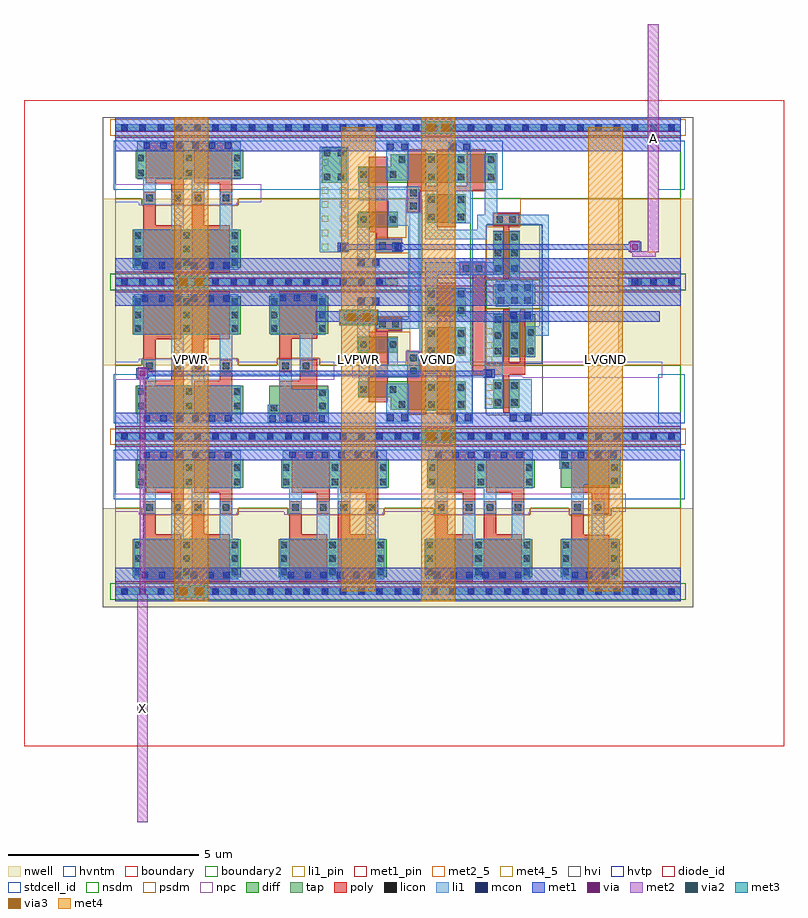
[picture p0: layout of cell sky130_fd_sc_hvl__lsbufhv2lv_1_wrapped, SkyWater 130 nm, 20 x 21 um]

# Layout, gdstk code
import gdstk
lib = gdstk.Library(unit=1e-6, precision=1e-09)
def R(c, l, rs):  # rectangles x0, y0, x1, y1
    for r in rs: c.add(gdstk.rectangle(r[:2], r[2:], *l))
def A(c, l, x, y, w, h, nx, ny, dx, dy):  # array of equal rectangles
    R(c, l, [(x+i*dx, y+j*dy, x+i*dx+w, y+j*dy+h) for i in range(nx) for j in range(ny)])
def P(c, l, *ps):  # polygons
    for p in ps: c.add(gdstk.Polygon(p, *l))
nwell = (64, 20)
diff = (65, 20)
tap = (65, 44)
poly = (66, 20)
licon = (66, 44)
li1_pin = (67, 16)
li1 = (67, 20)
mcon = (67, 44)
met1_pin = (68, 16)
met1 = (68, 20)
via = (68, 44)
met2_5 = (69, 5)
met2 = (69, 20)
via2 = (69, 44)
met3 = (70, 20)
via3 = (70, 44)
met4_5 = (71, 5)
met4 = (71, 20)
hvi = (75, 20)
hvtp = (78, 44)
stdcell_id = (81, 4)
diode_id = (81, 23)
nsdm = (93, 44)
psdm = (94, 20)
npc = (95, 20)
hvntm = (125, 20)
boundary = (235, 4)
boundary2 = (236, 0)

sky130_fd_sc_hvl__lsbufh = lib.new_cell('sky130_fd_sc_hvl__lsbufhv2lv_1')
R(sky130_fd_sc_hvl__lsbufh, nwell, [(-0.33,1.885,1.53,6.255), (7,1.885,8.49,6.255), (3.53,1.925,5,5.575)])
R(sky130_fd_sc_hvl__lsbufh, diff, [(1.96,0.705,2.99,1.455), (3.71,0.755,4.39,1.495), (3.71,2.105,4.82,3.225), (1.96,2.125,2.99,2.875), (0.15,2.215,1.2,2.635), (1.96,3.175,2.99,3.925), (3.71,4.275,4.39,5.395), (0.15,5.505,1.2,5.925), (1.96,5.635,2.99,6.385), (1.96,6.685,2.99,7.435), (2.74,6.685,3.77,7.435)])
P(sky130_fd_sc_hvl__lsbufh, diff, [(1.01,0.705),(1.01,1.035),(0.15,1.035),(0.15,1.455),(2.04,1.455),(2.04,0.705)],
  [(0.15,6.685),(0.15,7.105),(1.01,7.105),(1.01,7.435),(2.04,7.435),(2.04,6.685)])
R(sky130_fd_sc_hvl__lsbufh, tap, [(0,-0.085,8.16,0.085), (3.71,3.495,4.82,4.005), (0,3.985,1.2,4.155), (7.33,3.985,8.16,4.155), (0,8.055,8.16,8.225)])
R(sky130_fd_sc_hvl__lsbufh, poly, [(3.975,0.625,4.125,3.355), (4.405,1.965,4.555,3.355), (0.63,2.795,1.3,3.125), (2.225,3.045,2.725,4.055), (3.975,4.145,4.125,5.555), (2.83,4.265,3.5,4.595), (0.63,4.87,1.3,5.2), (0.63,5.2,0.935,5.375), (0.435,5.375,0.935,6.085), (3.715,5.555,4.385,5.885), (0.435,5.97,0.935,7.37)])
P(sky130_fd_sc_hvl__lsbufh, poly, [(0.435,0.905),(0.435,2.765),(0.63,2.765),(0.63,2.795),(0.935,2.795),(0.935,0.905)],
  [(2.225,5.505),(2.225,6.46),(1.775,6.46),(1.775,5.905),(1.445,5.905),(1.445,7.565),(1.945,7.565),(1.945,6.61),(2.225,6.61),(2.225,7.565),(2.725,7.565),(2.725,6.61),(3.005,6.61),(3.005,7.565),(3.505,7.565),(3.505,6.46),(2.725,6.46),(2.725,5.505)],
  [(3.17,1.635),(3.17,4.265),(3.5,4.265),(3.5,1.965),(4.555,1.965),(4.555,1.635)],
  [(1.445,0.575),(1.445,2.235),(1.775,2.235),(1.775,1.98),(2.225,1.98),(2.225,3.045),(2.725,3.045),(2.725,0.575),(2.225,0.575),(2.225,1.65),(1.945,1.65),(1.945,0.575)])
A(sky130_fd_sc_hvl__lsbufh, licon, 0.155, -0.085, 0.17, 0.17, 17, 2, 0.48, 8.14)
A(sky130_fd_sc_hvl__lsbufh, licon, 1.22, 0.765, 0.17, 0.17, 3, 1, 0.78, 0)
A(sky130_fd_sc_hvl__lsbufh, licon, 3.75, 2.165, 0.17, 0.17, 3, 1, 0.43, 0)
A(sky130_fd_sc_hvl__lsbufh, licon, 3.83, 3.495, 0.17, 0.17, 3, 2, 0.35, 0.34)
A(sky130_fd_sc_hvl__lsbufh, licon, 3.75, 4.335, 0.17, 0.17, 1, 3, 0, 0.415)
A(sky130_fd_sc_hvl__lsbufh, licon, 4.18, 4.335, 0.17, 0.17, 1, 3, 0, 0.415)
A(sky130_fd_sc_hvl__lsbufh, licon, 2, 6.745, 0.17, 0.17, 3, 1, 0.78, 0)
A(sky130_fd_sc_hvl__lsbufh, licon, 1.22, 7.205, 0.17, 0.17, 4, 1, 0.78, 0)
R(sky130_fd_sc_hvl__lsbufh, licon, [(3.75,0.815,3.92,0.985), (4.18,0.815,4.35,0.985), (0.21,1.16,0.38,1.33), (0.99,1.16,1.16,1.33), (2,1.205,2.17,1.375), (2.78,1.205,2.95,1.375), (3.75,1.265,3.92,1.435), (4.18,1.265,4.35,1.435), (1.525,1.645,1.695,1.815), (1.525,1.985,1.695,2.155), (2,2.185,2.17,2.355), (2.78,2.185,2.95,2.355), (0.21,2.34,0.38,2.51), (0.99,2.34,1.16,2.51), (3.75,2.58,3.92,2.75), (4.18,2.58,4.35,2.75), (2,2.625,2.17,2.795), (2.78,2.625,2.95,2.795), (4.61,2.655,4.78,2.825), (0.71,2.875,0.88,3.045), (1.05,2.875,1.22,3.045), (3.75,2.995,3.92,3.165), (4.18,2.995,4.35,3.165), (2,3.235,2.17,3.405), (2.78,3.235,2.95,3.405), (2,3.675,2.17,3.845), (2.78,3.675,2.95,3.845), (0.155,3.985,0.325,4.155), (0.635,3.985,0.805,4.155), (7.45,3.985,7.62,4.155), (7.835,3.985,8.005,4.155), (2.91,4.345,3.08,4.515), (3.25,4.345,3.42,4.515), (0.71,4.95,0.88,5.12), (1.05,4.95,1.22,5.12), (0.21,5.63,0.38,5.8), (0.99,5.63,1.16,5.8), (3.795,5.635,3.965,5.805), (4.135,5.635,4.305,5.805), (2,5.695,2.17,5.865), (2.78,5.695,2.95,5.865), (1.525,5.985,1.695,6.155), (2,6.155,2.17,6.325), (2.78,6.155,2.95,6.325), (1.525,6.325,1.695,6.495), (0.21,6.81,0.38,6.98), (0.99,6.81,1.16,6.98)])
A(sky130_fd_sc_hvl__lsbufh, li1_pin, 3.515, 0.84, 0.17, 0.17, 1, 6, 0, 0.37)
R(sky130_fd_sc_hvl__lsbufh, li1_pin, [(0.635,4.91,0.805,5.08), (1.115,4.91,1.285,5.08)])
R(sky130_fd_sc_hvl__lsbufh, li1, [(0,-0.085,8.16,0.085), (0.895,0.395,1.485,1.395), (2.57,0.395,3.16,3.91), (4.13,0.395,4.72,1.515), (3.485,0.735,3.96,3.245), (0,3.985,0.885,4.155), (7.275,3.985,8.16,4.155), (4.13,4.015,4.4,5.415), (0.63,4.87,1.3,5.2), (2.53,5.615,3.12,7.745), (0.895,6.745,1.485,7.745), (0,8.055,8.16,8.225)])
P(sky130_fd_sc_hvl__lsbufh, li1, [(0.13,2.26),(0.13,3.675),(0.72,3.675),(0.72,3.445),(0.46,3.445),(0.46,2.26)],
  [(0.13,4.465),(0.13,5.88),(0.46,5.88),(0.46,4.695),(0.72,4.695),(0.72,4.465)],
  [(0.17,1.08),(0.17,1.895),(0.95,1.895),(0.95,2.59),(1.2,2.59),(1.2,1.895),(1.445,1.895),(1.445,2.235),(1.75,2.235),(1.75,1.565),(0.42,1.565),(0.42,1.08)],
  [(4.13,2.085),(4.13,3.415),(3.78,3.415),(3.78,4.085),(4.75,4.085),(4.75,3.075),(4.4,3.075),(4.4,2.085)],
  [(0.63,2.835),(0.63,3.085),(1.47,3.085),(1.47,5.55),(0.95,5.55),(0.95,6.22),(0.17,6.22),(0.17,7.06),(0.42,7.06),(0.42,6.575),(1.75,6.575),(1.75,2.835)],
  [(4.57,2.085),(4.57,2.905),(4.92,2.905),(4.92,5.595),(3.54,5.595),(3.54,5.195),(1.92,5.195),(1.92,7.455),(2.25,7.455),(2.25,5.445),(3.29,5.445),(3.29,5.845),(3.48,5.845),(3.48,7.455),(3.81,7.455),(3.81,5.845),(5.17,5.845),(5.17,2.655),(4.82,2.655),(4.82,2.085)],
  [(1.92,0.685),(1.92,4.595),(3.71,4.595),(3.71,5.415),(3.96,5.415),(3.96,4.255),(2.25,4.255),(2.25,0.685)])
A(sky130_fd_sc_hvl__lsbufh, mcon, 0.155, -0.085, 0.17, 0.17, 17, 2, 0.48, 8.14)
R(sky130_fd_sc_hvl__lsbufh, mcon, [(0.925,0.425,1.095,0.595), (1.285,0.425,1.455,0.595), (2.6,0.425,2.77,0.595), (2.96,0.425,3.13,0.595), (4.16,0.425,4.33,0.595), (4.52,0.425,4.69,0.595), (4.16,3.105,4.33,3.275), (4.52,3.105,4.69,3.275), (0.16,3.475,0.33,3.645), (0.52,3.475,0.69,3.645), (0.155,3.985,0.325,4.155), (0.635,3.985,0.805,4.155), (7.355,3.985,7.525,4.155), (7.835,3.985,8.005,4.155), (0.16,4.495,0.33,4.665), (0.52,4.495,0.69,4.665), (0.925,7.545,1.095,7.715), (1.285,7.545,1.455,7.715), (2.56,7.545,2.73,7.715), (2.92,7.545,3.09,7.715)])
R(sky130_fd_sc_hvl__lsbufh, met1_pin, [(0,0,8.16,0.115), (0,0.255,8.16,0.625), (0.07,3.02,8.09,3.305), (0,3.445,8.16,3.815), (0,3.955,8.16,4.185), (0,4.325,8.16,4.695), (0,7.515,8.16,7.885), (0,8.025,8.16,8.14)])
A(sky130_fd_sc_hvl__lsbufh, met1, 0, -0.115, 8.16, 0.23, 1, 3, 0, 4.07)
R(sky130_fd_sc_hvl__lsbufh, met1, [(0,0.255,8.16,0.625), (0.07,3.02,8.09,3.305), (0,3.445,8.16,3.815), (0,4.325,8.16,4.695), (0,7.515,8.16,7.885)])
P(sky130_fd_sc_hvl__lsbufh, hvi, [(-0.33,-0.265),(-0.33,8.405),(5,8.405),(5,5.575),(3.53,5.575),(3.53,0.575),(5,0.575),(5,8.405),(8.49,8.405),(8.49,-0.265)])
R(sky130_fd_sc_hvl__lsbufh, hvtp, [(3.53,1.925,5,5.575)])
R(sky130_fd_sc_hvl__lsbufh, stdcell_id, [(0,0,8.16,8.14)])
R(sky130_fd_sc_hvl__lsbufh, nsdm, [(3.53,3.365,5,4.135), (7,3.855,8.29,4.285)])
P(sky130_fd_sc_hvl__lsbufh, nsdm, [(0,0.215),(0,1.885),(1.83,1.885),(1.83,3.855),(-0.13,3.855),(-0.13,4.285),(1.83,4.285),(1.83,6.255),(0,6.255),(0,7.925),(8.16,7.925),(8.16,6.255),(3.12,6.255),(3.12,1.885),(8.16,1.885),(8.16,0.215)])
R(sky130_fd_sc_hvl__lsbufh, psdm, [(-0.13,-0.215,8.29,0.215), (-0.13,7.925,8.29,8.355)])
P(sky130_fd_sc_hvl__lsbufh, psdm, [(3.53,1.885),(3.53,3.365),(5,3.365),(5,4.135),(3.53,4.135),(3.53,5.525),(4.415,5.525),(4.415,6.255),(8.16,6.255),(8.16,4.285),(7,4.285),(7,3.855),(8.16,3.855),(8.16,1.885)],
  [(0,1.885),(0,3.855),(1.53,3.855),(1.53,3.155),(0.6,3.155),(0.6,2.765),(1.53,2.765),(1.53,2.265),(1.415,2.265),(1.415,1.885)],
  [(0,4.285),(0,6.255),(1.415,6.255),(1.415,5.23),(0.6,5.23),(0.6,4.84),(1.53,4.84),(1.53,4.285)])
R(sky130_fd_sc_hvl__lsbufh, npc, [(0.61,2.775,1.32,3.145), (2.81,4.245,3.52,4.615), (0.61,4.85,1.32,5.22), (3.695,5.535,4.405,5.905), (1.425,5.885,1.795,6.595)])
P(sky130_fd_sc_hvl__lsbufh, npc, [(0,1.545),(0,1.97),(1.425,1.97),(1.425,2.255),(1.795,2.255),(1.795,1.97),(8.16,1.97),(8.16,1.545),(4.48,1.545),(4.48,1.585),(3.62,1.585),(3.62,1.545)])
P(sky130_fd_sc_hvl__lsbufh, hvntm, [(-0.035,0.35),(-0.035,1.64),(1.775,1.64),(1.775,6.5),(-0.035,6.5),(-0.035,7.79),(3.955,7.79),(3.955,6.5),(3.175,6.5),(3.175,0.35)])
R(sky130_fd_sc_hvl__lsbufh, boundary2, [(0,0,8.16,8.14)])
sky130_fd_sc_hvl__lsbufh.add(gdstk.Label('cross2', (3.18,2.35), layer=83, texttype=44))
sky130_fd_sc_hvl__lsbufh.add(gdstk.Label('lsbuflv2hv_1', (0,0), layer=83, texttype=44))
sky130_fd_sc_hvl__lsbufh.add(gdstk.Label('VPB', (4.32,4.068), layer=68, texttype=5))
sky130_fd_sc_hvl__lsbufh.add(gdstk.Label('LVPWR', (4.32,3.165), layer=68, texttype=5))
sky130_fd_sc_hvl__lsbufh.add(gdstk.Label('VNB', (4.32,0.058), layer=68, texttype=5))
sky130_fd_sc_hvl__lsbufh.add(gdstk.Label('VNB', (4.32,8.082), layer=68, texttype=5))
sky130_fd_sc_hvl__lsbufh.add(gdstk.Label('VGND', (4.32,0.44), layer=68, texttype=5))
sky130_fd_sc_hvl__lsbufh.add(gdstk.Label('VGND', (4.32,7.7), layer=68, texttype=5))
sky130_fd_sc_hvl__lsbufh.add(gdstk.Label('VPWR', (4.32,3.63), layer=68, texttype=5))
sky130_fd_sc_hvl__lsbufh.add(gdstk.Label('VPWR', (4.32,4.51), layer=68, texttype=5))
sky130_fd_sc_hvl__lsbufh.add(gdstk.Label('A', (0.72,4.995), layer=67, texttype=5))
sky130_fd_sc_hvl__lsbufh.add(gdstk.Label('A', (1.2,4.995), layer=67, texttype=5))
sky130_fd_sc_hvl__lsbufh.add(gdstk.Label('X', (3.6,0.925), layer=67, texttype=5))
sky130_fd_sc_hvl__lsbufh.add(gdstk.Label('X', (3.6,1.295), layer=67, texttype=5))
sky130_fd_sc_hvl__lsbufh.add(gdstk.Label('X', (3.6,1.665), layer=67, texttype=5))
sky130_fd_sc_hvl__lsbufh.add(gdstk.Label('X', (3.6,2.035), layer=67, texttype=5))
sky130_fd_sc_hvl__lsbufh.add(gdstk.Label('X', (3.6,2.405), layer=67, texttype=5))
sky130_fd_sc_hvl__lsbufh.add(gdstk.Label('X', (3.6,2.775), layer=67, texttype=5))

sky130_fd_sc_hvl__fill_2 = lib.new_cell('sky130_fd_sc_hvl__fill_2')
R(sky130_fd_sc_hvl__fill_2, nwell, [(-0.33,1.885,1.29,4.485)])
R(sky130_fd_sc_hvl__fill_2, tap, [(0,-0.085,0.96,0.085), (0,3.985,0.96,4.155)])
R(sky130_fd_sc_hvl__fill_2, licon, [(0.155,-0.085,0.325,0.085), (0.635,-0.085,0.805,0.085), (0.155,3.985,0.325,4.155), (0.635,3.985,0.805,4.155)])
R(sky130_fd_sc_hvl__fill_2, li1, [(0,-0.085,0.96,0.085), (0,3.985,0.96,4.155)])
R(sky130_fd_sc_hvl__fill_2, mcon, [(0.155,-0.085,0.325,0.085), (0.155,-0.085,0.325,0.085), (0.635,-0.085,0.805,0.085), (0.635,-0.085,0.805,0.085), (0.155,3.985,0.325,4.155), (0.155,3.985,0.325,4.155), (0.635,3.985,0.805,4.155), (0.635,3.985,0.805,4.155)])
R(sky130_fd_sc_hvl__fill_2, met1_pin, [(0,0,0.96,0.115), (0,0,0.96,0.115), (0,0.255,0.96,0.625), (0,3.445,0.96,3.815), (0,3.955,0.96,4.07), (0,3.955,0.96,4.07)])
R(sky130_fd_sc_hvl__fill_2, met1, [(0,-0.115,0.96,0.115), (0,0.255,0.96,0.625), (0,3.445,0.96,3.815), (0,3.955,0.96,4.185)])
R(sky130_fd_sc_hvl__fill_2, hvi, [(-0.33,-0.265,1.29,4.485)])
R(sky130_fd_sc_hvl__fill_2, stdcell_id, [(0,0,0.96,4.07)])
R(sky130_fd_sc_hvl__fill_2, nsdm, [(0,0.215,0.96,1.885), (-0.13,3.855,1.09,4.285), (0,3.855,0.96,4.07)])
R(sky130_fd_sc_hvl__fill_2, psdm, [(-0.13,-0.215,1.09,0.215), (0,1.885,0.96,3.855)])
R(sky130_fd_sc_hvl__fill_2, hvntm, [(-0.035,0.35,0.995,1.64)])
R(sky130_fd_sc_hvl__fill_2, boundary2, [(0,0,0.96,4.07)])
sky130_fd_sc_hvl__fill_2.add(gdstk.Label('fill_2', (0,0), layer=83, texttype=44))
sky130_fd_sc_hvl__fill_2.add(gdstk.Label('VPB', (0.48,4.013), layer=68, texttype=5))
sky130_fd_sc_hvl__fill_2.add(gdstk.Label('VPB', (0.48,4.013), layer=68, texttype=5))
sky130_fd_sc_hvl__fill_2.add(gdstk.Label('VNB', (0.48,0.058), layer=68, texttype=5))
sky130_fd_sc_hvl__fill_2.add(gdstk.Label('VNB', (0.48,0.058), layer=68, texttype=5))
sky130_fd_sc_hvl__fill_2.add(gdstk.Label('VPWR', (0.48,3.63), layer=68, texttype=5))
sky130_fd_sc_hvl__fill_2.add(gdstk.Label('VGND', (0.48,0.44), layer=68, texttype=5))

sky130_fd_sc_hvl__fill_1 = lib.new_cell('sky130_fd_sc_hvl__fill_1')
R(sky130_fd_sc_hvl__fill_1, nwell, [(-0.33,1.885,0.81,4.485)])
R(sky130_fd_sc_hvl__fill_1, tap, [(0,-0.085,0.48,0.085), (0,3.985,0.48,4.155)])
R(sky130_fd_sc_hvl__fill_1, licon, [(0.155,-0.085,0.325,0.085), (0.155,3.985,0.325,4.155)])
R(sky130_fd_sc_hvl__fill_1, li1, [(0,-0.085,0.48,0.085), (0,3.985,0.48,4.155)])
R(sky130_fd_sc_hvl__fill_1, mcon, [(0.155,-0.085,0.325,0.085), (0.155,-0.085,0.325,0.085), (0.155,3.985,0.325,4.155), (0.155,3.985,0.325,4.155)])
R(sky130_fd_sc_hvl__fill_1, met1_pin, [(0,0,0.48,0.115), (0,0,0.48,0.115), (0,0.255,0.48,0.625), (0,3.445,0.48,3.815), (0,3.955,0.48,4.07), (0,3.955,0.48,4.07)])
R(sky130_fd_sc_hvl__fill_1, met1, [(0,-0.115,0.48,0.115), (0,0.255,0.48,0.625), (0,3.445,0.48,3.815), (0,3.955,0.48,4.185)])
R(sky130_fd_sc_hvl__fill_1, hvi, [(-0.33,-0.265,0.81,4.485)])
R(sky130_fd_sc_hvl__fill_1, stdcell_id, [(0,0,0.48,4.07)])
R(sky130_fd_sc_hvl__fill_1, nsdm, [(0,0.215,0.48,1.885), (-0.13,3.855,0.61,4.285), (0,3.855,0.48,4.07)])
R(sky130_fd_sc_hvl__fill_1, psdm, [(-0.13,-0.215,0.61,0.215), (0,1.885,0.48,3.855)])
R(sky130_fd_sc_hvl__fill_1, hvntm, [(-0.11,0.35,0.59,1.64)])
R(sky130_fd_sc_hvl__fill_1, boundary2, [(0,0,0.48,4.07)])
sky130_fd_sc_hvl__fill_1.add(gdstk.Label('fill_1', (0,0), layer=83, texttype=44))
sky130_fd_sc_hvl__fill_1.add(gdstk.Label('VPB', (0.24,4.013), layer=68, texttype=5))
sky130_fd_sc_hvl__fill_1.add(gdstk.Label('VPB', (0.24,4.013), layer=68, texttype=5))
sky130_fd_sc_hvl__fill_1.add(gdstk.Label('VGND', (0.24,0.44), layer=68, texttype=5))
sky130_fd_sc_hvl__fill_1.add(gdstk.Label('VPWR', (0.24,3.63), layer=68, texttype=5))
sky130_fd_sc_hvl__fill_1.add(gdstk.Label('VNB', (0.24,0.058), layer=68, texttype=5))
sky130_fd_sc_hvl__fill_1.add(gdstk.Label('VNB', (0.24,0.058), layer=68, texttype=5))

sky130_fd_sc_hvl__decap_ = lib.new_cell('sky130_fd_sc_hvl__decap_8')
R(sky130_fd_sc_hvl__decap_, nwell, [(-0.33,1.885,4.17,4.485)])
R(sky130_fd_sc_hvl__decap_, diff, [(0.535,0.59,3.365,1.34), (0.46,2.7,3.3,3.7)])
R(sky130_fd_sc_hvl__decap_, tap, [(0,-0.085,3.84,0.085), (0,3.985,3.84,4.155)])
P(sky130_fd_sc_hvl__decap_, poly, [(0.735,1.695),(0.735,3.83),(1.735,3.83),(1.735,2.57),(1.065,2.57),(1.065,1.695)],
  [(2.015,1.695),(2.015,3.83),(3.015,3.83),(3.015,2.57),(2.345,2.57),(2.345,1.695)],
  [(0.8,0.4),(0.8,1.47),(1.47,1.47),(1.47,2.025),(1.8,2.025),(1.8,0.4)],
  [(2.08,0.4),(2.08,1.47),(2.75,1.47),(2.75,2.025),(3.08,2.025),(3.08,0.4)])
A(sky130_fd_sc_hvl__decap_, licon, 0.155, -0.085, 0.17, 0.17, 8, 2, 0.48, 4.07)
A(sky130_fd_sc_hvl__decap_, licon, 0.575, 0.72, 0.17, 0.17, 3, 2, 1.28, 0.39)
A(sky130_fd_sc_hvl__decap_, licon, 0.5, 2.76, 0.17, 0.17, 1, 3, 0, 0.355)
A(sky130_fd_sc_hvl__decap_, licon, 1.79, 2.76, 0.17, 0.17, 1, 3, 0, 0.355)
A(sky130_fd_sc_hvl__decap_, licon, 3.07, 2.76, 0.17, 0.17, 1, 3, 0, 0.355)
R(sky130_fd_sc_hvl__decap_, licon, [(0.815,1.775,0.985,1.945), (1.55,1.775,1.72,1.945), (2.095,1.775,2.265,1.945), (2.83,1.775,3,1.945)])
R(sky130_fd_sc_hvl__decap_, li1, [(0,-0.085,3.84,0.085), (0,3.985,3.84,4.155)])
P(sky130_fd_sc_hvl__decap_, li1, [(0.575,0.36),(0.575,1.36),(0.735,1.36),(0.735,2.025),(1.065,2.025),(1.065,1.36),(2.015,1.36),(2.015,2.025),(2.345,2.025),(2.345,1.36),(3.305,1.36),(3.305,0.36)],
  [(1.47,1.695),(1.47,2.68),(0.5,2.68),(0.5,3.75),(3.24,3.75),(3.24,2.68),(3.08,2.68),(3.08,1.695),(2.75,1.695),(2.75,2.68),(1.8,2.68),(1.8,1.695)])
A(sky130_fd_sc_hvl__decap_, mcon, 0.155, -0.085, 0.17, 0.17, 8, 2, 0.48, 4.07)
R(sky130_fd_sc_hvl__decap_, mcon, [(0.745,0.39,0.915,0.56), (1.185,0.39,1.355,0.56), (1.6,0.39,1.77,0.56), (2.025,0.39,2.195,0.56), (2.465,0.39,2.635,0.56), (2.88,0.39,3.05,0.56), (0.705,3.555,0.875,3.725), (1.145,3.555,1.315,3.725), (1.56,3.555,1.73,3.725), (1.985,3.555,2.155,3.725), (2.425,3.555,2.595,3.725), (2.84,3.555,3.01,3.725)])
R(sky130_fd_sc_hvl__decap_, met1_pin, [(0,0,3.84,0.115), (0,0,3.84,0.115), (0,0.255,3.84,0.625), (0,3.445,3.84,3.815), (0,3.955,3.84,4.07), (0,3.955,3.84,4.07)])
R(sky130_fd_sc_hvl__decap_, met1, [(0,-0.115,3.84,0.115), (0,0.255,3.84,0.625), (0,3.445,3.84,3.815), (0,3.955,3.84,4.185)])
R(sky130_fd_sc_hvl__decap_, hvi, [(-0.33,-0.265,4.17,4.485)])
R(sky130_fd_sc_hvl__decap_, stdcell_id, [(0,0,3.84,4.07)])
R(sky130_fd_sc_hvl__decap_, nsdm, [(-0.13,3.855,3.97,4.285)])
P(sky130_fd_sc_hvl__decap_, nsdm, [(0,0.215),(0,1.885),(0.705,1.885),(0.705,2.055),(3.24,2.055),(3.24,1.885),(3.84,1.885),(3.84,0.215)])
R(sky130_fd_sc_hvl__decap_, psdm, [(-0.13,-0.215,3.97,0.215)])
P(sky130_fd_sc_hvl__decap_, psdm, [(0,1.885),(0,3.855),(3.84,3.855),(3.84,1.885),(3.24,1.885),(3.24,2.055),(0.705,2.055),(0.705,1.885)])
P(sky130_fd_sc_hvl__decap_, npc, [(0,1.5),(0,1.97),(0.615,1.97),(0.615,2.05),(3.2,2.05),(3.2,1.97),(3.84,1.97),(3.84,1.5)])
R(sky130_fd_sc_hvl__decap_, hvntm, [(-0.035,0.35,3.875,1.64)])
R(sky130_fd_sc_hvl__decap_, boundary2, [(0,0,3.84,4.07)])
sky130_fd_sc_hvl__decap_.add(gdstk.Label('decap_8', (0,0), layer=83, texttype=44))
sky130_fd_sc_hvl__decap_.add(gdstk.Label('VPB', (1.92,4.013), layer=68, texttype=5))
sky130_fd_sc_hvl__decap_.add(gdstk.Label('VPB', (1.92,4.013), layer=68, texttype=5))
sky130_fd_sc_hvl__decap_.add(gdstk.Label('VPWR', (1.92,3.63), layer=68, texttype=5))
sky130_fd_sc_hvl__decap_.add(gdstk.Label('VGND', (1.92,0.44), layer=68, texttype=5))
sky130_fd_sc_hvl__decap_.add(gdstk.Label('VNB', (1.92,0.058), layer=68, texttype=5))
sky130_fd_sc_hvl__decap_.add(gdstk.Label('VNB', (1.92,0.058), layer=68, texttype=5))

c_sky130_fd_sc_hvl__decap_ = lib.new_cell('sky130_fd_sc_hvl__decap_4')
R(c_sky130_fd_sc_hvl__decap_, nwell, [(-0.33,1.885,2.25,4.485)])
R(c_sky130_fd_sc_hvl__decap_, diff, [(0.21,0.595,1.76,1.345), (0.21,2.705,1.76,3.705)])
R(c_sky130_fd_sc_hvl__decap_, tap, [(0,-0.085,1.92,0.085), (0,3.985,1.92,4.155)])
P(c_sky130_fd_sc_hvl__decap_, poly, [(0.475,0.405),(0.475,1.475),(1.015,1.475),(1.015,2.03),(1.475,2.03),(1.475,0.405)],
  [(0.475,1.7),(0.475,3.835),(1.475,3.835),(1.475,2.575),(0.805,2.575),(0.805,1.7)])
A(c_sky130_fd_sc_hvl__decap_, licon, 0.155, -0.085, 0.17, 0.17, 4, 2, 0.48, 4.07)
A(c_sky130_fd_sc_hvl__decap_, licon, 0.25, 2.765, 0.17, 0.17, 1, 3, 0, 0.355)
A(c_sky130_fd_sc_hvl__decap_, licon, 1.53, 2.765, 0.17, 0.17, 1, 3, 0, 0.355)
R(c_sky130_fd_sc_hvl__decap_, licon, [(0.25,0.675,0.42,0.845), (1.53,0.725,1.7,0.895), (1.53,1.08,1.7,1.25), (0.555,1.78,0.725,1.95), (1.095,1.78,1.265,1.95)])
R(c_sky130_fd_sc_hvl__decap_, li1, [(0,-0.085,1.92,0.085), (0,3.985,1.92,4.155)])
P(c_sky130_fd_sc_hvl__decap_, li1, [(0.17,0.365),(0.17,0.845),(0.475,0.845),(0.475,2.03),(0.805,2.03),(0.805,1.25),(1.78,1.25),(1.78,0.365)],
  [(1.015,1.7),(1.015,2.685),(0.25,2.685),(0.25,3.755),(1.7,3.755),(1.7,2.685),(1.345,2.685),(1.345,1.7)])
A(c_sky130_fd_sc_hvl__decap_, mcon, 0.155, -0.085, 0.17, 0.17, 4, 2, 0.48, 4.07)
A(c_sky130_fd_sc_hvl__decap_, mcon, 0.215, 0.395, 0.17, 0.17, 3, 1, 0.44, 0)
R(c_sky130_fd_sc_hvl__decap_, mcon, [(1.51,0.395,1.68,0.565), (0.495,3.56,0.665,3.73), (0.86,3.56,1.03,3.73), (1.3,3.56,1.47,3.73)])
R(c_sky130_fd_sc_hvl__decap_, met1_pin, [(0,0,1.92,0.115), (0,0,1.92,0.115), (0,0.255,1.92,0.625), (0,3.445,1.92,3.815), (0,3.955,1.92,4.07), (0,3.955,1.92,4.07)])
R(c_sky130_fd_sc_hvl__decap_, met1, [(0,-0.115,1.92,0.115), (0,0.255,1.92,0.625), (0,3.445,1.92,3.815), (0,3.955,1.92,4.185)])
R(c_sky130_fd_sc_hvl__decap_, hvi, [(-0.33,-0.265,2.25,4.485)])
R(c_sky130_fd_sc_hvl__decap_, stdcell_id, [(0,0,1.92,4.07)])
R(c_sky130_fd_sc_hvl__decap_, nsdm, [(-0.13,3.855,2.05,4.285)])
P(c_sky130_fd_sc_hvl__decap_, nsdm, [(0,0.215),(0,1.885),(0.425,1.885),(0.425,2.07),(1.54,2.07),(1.54,1.885),(1.92,1.885),(1.92,0.215)])
R(c_sky130_fd_sc_hvl__decap_, psdm, [(-0.13,-0.215,2.05,0.215)])
P(c_sky130_fd_sc_hvl__decap_, psdm, [(0,1.885),(0,3.855),(1.92,3.855),(1.92,1.885),(1.54,1.885),(1.54,2.07),(0.425,2.07),(0.425,1.885)])
P(c_sky130_fd_sc_hvl__decap_, npc, [(0,1.5),(0,1.97),(0.425,1.97),(0.425,2.05),(1.54,2.05),(1.54,1.97),(1.92,1.97),(1.92,1.5)])
R(c_sky130_fd_sc_hvl__decap_, hvntm, [(-0.035,0.35,1.955,1.64)])
R(c_sky130_fd_sc_hvl__decap_, boundary2, [(0,0,1.92,4.07)])
c_sky130_fd_sc_hvl__decap_.add(gdstk.Label('decap_4', (0,0), layer=83, texttype=44))
c_sky130_fd_sc_hvl__decap_.add(gdstk.Label('VPB', (0.96,4.013), layer=68, texttype=5))
c_sky130_fd_sc_hvl__decap_.add(gdstk.Label('VPB', (0.96,4.013), layer=68, texttype=5))
c_sky130_fd_sc_hvl__decap_.add(gdstk.Label('VPWR', (0.96,3.63), layer=68, texttype=5))
c_sky130_fd_sc_hvl__decap_.add(gdstk.Label('VGND', (0.96,0.44), layer=68, texttype=5))
c_sky130_fd_sc_hvl__decap_.add(gdstk.Label('VNB', (0.96,0.058), layer=68, texttype=5))
c_sky130_fd_sc_hvl__decap_.add(gdstk.Label('VNB', (0.96,0.058), layer=68, texttype=5))

sky130_fd_sc_hvl__diode_ = lib.new_cell('sky130_fd_sc_hvl__diode_2')
R(sky130_fd_sc_hvl__diode_, nwell, [(-0.33,1.885,1.29,4.485)])
R(sky130_fd_sc_hvl__diode_, diff, [(0.15,0.535,0.81,1.455)])
R(sky130_fd_sc_hvl__diode_, tap, [(0,-0.085,0.96,0.085), (0,3.985,0.96,4.155)])
R(sky130_fd_sc_hvl__diode_, licon, [(0.155,-0.085,0.325,0.085), (0.635,-0.085,0.805,0.085), (0.21,0.595,0.38,0.765), (0.58,0.595,0.75,0.765), (0.21,1.225,0.38,1.395), (0.58,1.225,0.75,1.395), (0.155,3.985,0.325,4.155), (0.635,3.985,0.805,4.155)])
A(sky130_fd_sc_hvl__diode_, li1_pin, 0.155, 0.84, 0.17, 0.17, 1, 7, 0, 0.37)
A(sky130_fd_sc_hvl__diode_, li1_pin, 0.635, 0.84, 0.17, 0.17, 1, 7, 0, 0.37)
R(sky130_fd_sc_hvl__diode_, li1, [(0,-0.085,0.96,0.085), (0.105,0.515,0.855,3.28), (0,3.985,0.96,4.155)])
R(sky130_fd_sc_hvl__diode_, mcon, [(0.155,-0.085,0.325,0.085), (0.155,-0.085,0.325,0.085), (0.635,-0.085,0.805,0.085), (0.635,-0.085,0.805,0.085), (0.155,3.985,0.325,4.155), (0.155,3.985,0.325,4.155), (0.635,3.985,0.805,4.155), (0.635,3.985,0.805,4.155)])
R(sky130_fd_sc_hvl__diode_, met1_pin, [(0,0,0.96,0.115), (0,0,0.96,0.115), (0,0.255,0.96,0.625), (0,3.445,0.96,3.815), (0,3.955,0.96,4.07), (0,3.955,0.96,4.07)])
R(sky130_fd_sc_hvl__diode_, met1, [(0,-0.115,0.96,0.115), (0,0.255,0.96,0.625), (0,3.445,0.96,3.815), (0,3.955,0.96,4.185)])
R(sky130_fd_sc_hvl__diode_, hvi, [(-0.33,-0.265,1.29,4.485)])
R(sky130_fd_sc_hvl__diode_, stdcell_id, [(0,0,0.96,4.07)])
R(sky130_fd_sc_hvl__diode_, diode_id, [(0.15,0.535,0.81,1.455)])
R(sky130_fd_sc_hvl__diode_, nsdm, [(0,0.215,0.96,1.885), (-0.13,3.855,1.09,4.285), (0,3.855,0.96,4.07)])
R(sky130_fd_sc_hvl__diode_, psdm, [(-0.13,-0.215,1.09,0.215), (0,1.885,0.96,3.855)])
R(sky130_fd_sc_hvl__diode_, hvntm, [(-0.035,0.35,0.995,1.64)])
R(sky130_fd_sc_hvl__diode_, boundary2, [(0,0,0.96,4.07)])
sky130_fd_sc_hvl__diode_.add(gdstk.Label('diode_2', (0,0), layer=83, texttype=44))
sky130_fd_sc_hvl__diode_.add(gdstk.Label('VPB', (0.48,4.013), layer=68, texttype=5))
sky130_fd_sc_hvl__diode_.add(gdstk.Label('VPB', (0.48,4.013), layer=68, texttype=5))
sky130_fd_sc_hvl__diode_.add(gdstk.Label('VNB', (0.48,0.058), layer=68, texttype=5))
sky130_fd_sc_hvl__diode_.add(gdstk.Label('VNB', (0.48,0.058), layer=68, texttype=5))
sky130_fd_sc_hvl__diode_.add(gdstk.Label('VPWR', (0.48,3.63), layer=68, texttype=5))
sky130_fd_sc_hvl__diode_.add(gdstk.Label('VGND', (0.48,0.44), layer=68, texttype=5))
sky130_fd_sc_hvl__diode_.add(gdstk.Label('DIODE', (0.24,0.925), layer=67, texttype=5))
sky130_fd_sc_hvl__diode_.add(gdstk.Label('DIODE', (0.72,0.925), layer=67, texttype=5))
sky130_fd_sc_hvl__diode_.add(gdstk.Label('DIODE', (0.24,1.295), layer=67, texttype=5))
sky130_fd_sc_hvl__diode_.add(gdstk.Label('DIODE', (0.72,1.295), layer=67, texttype=5))
sky130_fd_sc_hvl__diode_.add(gdstk.Label('DIODE', (0.24,1.665), layer=67, texttype=5))
sky130_fd_sc_hvl__diode_.add(gdstk.Label('DIODE', (0.72,1.665), layer=67, texttype=5))
sky130_fd_sc_hvl__diode_.add(gdstk.Label('DIODE', (0.24,2.035), layer=67, texttype=5))
sky130_fd_sc_hvl__diode_.add(gdstk.Label('DIODE', (0.72,2.035), layer=67, texttype=5))
sky130_fd_sc_hvl__diode_.add(gdstk.Label('DIODE', (0.24,2.405), layer=67, texttype=5))
sky130_fd_sc_hvl__diode_.add(gdstk.Label('DIODE', (0.72,2.405), layer=67, texttype=5))
sky130_fd_sc_hvl__diode_.add(gdstk.Label('DIODE', (0.24,2.775), layer=67, texttype=5))
sky130_fd_sc_hvl__diode_.add(gdstk.Label('DIODE', (0.72,2.775), layer=67, texttype=5))
sky130_fd_sc_hvl__diode_.add(gdstk.Label('DIODE', (0.24,3.145), layer=67, texttype=5))
sky130_fd_sc_hvl__diode_.add(gdstk.Label('DIODE', (0.72,3.145), layer=67, texttype=5))

c_sky130_fd_sc_hvl__lsbufh = lib.new_cell('sky130_fd_sc_hvl__lsbufhv2lv_1_wrapped')
R(c_sky130_fd_sc_hvl__lsbufh, li1, [(12.155,9.72,12.325,9.89), (8.315,13.05,8.485,13.22), (9.755,13.05,9.925,13.22)])
R(c_sky130_fd_sc_hvl__lsbufh, mcon, [(12.155,9.72,12.325,9.89), (8.315,13.05,8.485,13.22), (9.755,13.05,9.925,13.22)])
A(c_sky130_fd_sc_hvl__lsbufh, met1, 2.4, 3.815, 14.88, 0.51, 1, 4, 0, 4.07)
R(c_sky130_fd_sc_hvl__lsbufh, met1, [(2.96,9.675,3.28,9.735), (12.095,9.69,12.385,9.735), (2.96,9.735,12.385,9.875), (2.96,9.875,3.28,9.935), (12.095,9.875,12.385,9.92), (8.32,11.11,9.3,11.16), (7.68,11.16,10.55,11.445), (15.92,13.005,16.24,13.065), (8.255,13.02,8.545,13.065), (9.695,13.02,9.985,13.065), (8.255,13.065,16.24,13.205), (8.255,13.205,8.545,13.25), (9.695,13.205,9.985,13.25), (15.92,13.205,16.24,13.265)])
A(c_sky130_fd_sc_hvl__lsbufh, via, 8.415, 11.205, 0.15, 0.15, 3, 1, 0.32, 0)
R(c_sky130_fd_sc_hvl__lsbufh, via, [(4.165,3.995,4.315,4.145), (4.485,3.995,4.635,4.145), (10.665,8.065,10.815,8.215), (10.985,8.065,11.135,8.215), (3.045,9.73,3.195,9.88), (4.165,12.135,4.315,12.285), (4.485,12.135,4.635,12.285), (16.005,13.06,16.155,13.21), (10.665,16.205,10.815,16.355), (10.985,16.205,11.135,16.355)])
R(c_sky130_fd_sc_hvl__lsbufh, met2_5, [(2.98,-2,3.26,4), (16.42,13,16.7,19)])
R(c_sky130_fd_sc_hvl__lsbufh, met2, [(2.98,-2,3.26,4), (4.06,3.815,4.74,4.325), (3.05,4,3.19,9.645), (10.56,7.885,11.24,8.395), (2.99,9.645,3.25,9.965), (8.3,11.07,9.32,11.48), (4.06,11.955,4.74,12.465), (16.01,12.88,16.63,12.975), (15.95,12.975,16.63,13), (15.95,13,16.7,13.02), (15.95,13.02,16.21,13.295), (16.42,13.02,16.7,19), (10.56,16.025,11.24,16.535)])
R(c_sky130_fd_sc_hvl__lsbufh, via2, [(4.1,3.97,4.3,4.17), (4.5,3.97,4.7,4.17), (10.6,8.04,10.8,8.24), (11,8.04,11.2,8.24), (8.51,11.18,8.71,11.38), (8.91,11.18,9.11,11.38), (4.1,12.11,4.3,12.31), (4.5,12.11,4.7,12.31), (10.6,16.18,10.8,16.38), (11,16.18,11.2,16.38)])
R(c_sky130_fd_sc_hvl__lsbufh, met3, [(3.95,3.905,4.85,4.235), (10.45,7.975,11.35,8.305), (8.3,11.07,9.32,11.48), (3.95,12.045,4.85,12.375), (10.45,16.115,11.35,16.445)])
R(c_sky130_fd_sc_hvl__lsbufh, via3, [(4.1,3.97,4.3,4.17), (4.5,3.97,4.7,4.17), (10.6,8.04,10.8,8.24), (11,8.04,11.2,8.24), (8.51,11.19,8.71,11.39), (8.91,11.19,9.11,11.39), (4.1,12.11,4.3,12.31), (4.5,12.11,4.7,12.31), (10.6,16.18,10.8,16.38), (11,16.18,11.2,16.38)])
R(c_sky130_fd_sc_hvl__lsbufh, met4_5, [(3.95,3.815,4.85,16.535), (10.45,3.815,11.35,16.535), (8.35,4.07,9.25,16.28), (14.85,4.07,15.75,16.28)])
R(c_sky130_fd_sc_hvl__lsbufh, met4, [(3.95,3.815,4.85,16.535), (10.45,3.815,11.35,16.535), (8.35,4.07,9.25,11.08), (14.85,4.07,15.75,16.28), (8.3,11.08,9.3,11.48), (8.35,11.48,9.25,16.28)])
R(c_sky130_fd_sc_hvl__lsbufh, hvi, [(5.95,6.255,6.59,7.72), (9.79,6.255,10.43,7.72), (13.63,6.255,13.945,7.72), (5.95,8.56,6.265,10.025), (8.185,8.56,8.605,10.025)])
R(c_sky130_fd_sc_hvl__lsbufh, nsdm, [(8.615,14.7,8.665,15.7), (8.615,15.7,8.935,15.87)])
R(c_sky130_fd_sc_hvl__lsbufh, hvntm, [(5.95,6.615,6.59,7.735), (9.79,6.615,10.43,7.735), (13.63,6.615,13.945,7.73), (5.95,8.55,6.265,9.665), (8.185,8.99,8.605,9.67)])
R(c_sky130_fd_sc_hvl__lsbufh, boundary, [(0,0,20,17)])
c_sky130_fd_sc_hvl__lsbufh.add(gdstk.Reference(sky130_fd_sc_hvl__lsbufh, (8.64,8.14)))
c_sky130_fd_sc_hvl__lsbufh.add(gdstk.Reference(sky130_fd_sc_hvl__fill_2, (6.24,16.28), x_reflection=True))
c_sky130_fd_sc_hvl__lsbufh.add(gdstk.Reference(sky130_fd_sc_hvl__fill_1, (16.8,16.28), x_reflection=True))
c_sky130_fd_sc_hvl__lsbufh.add(gdstk.Reference(sky130_fd_sc_hvl__fill_1, (7.2,16.28), x_reflection=True))
c_sky130_fd_sc_hvl__lsbufh.add(gdstk.Reference(sky130_fd_sc_hvl__decap_, (2.4,16.28), x_reflection=True))
c_sky130_fd_sc_hvl__lsbufh.add(gdstk.Reference(c_sky130_fd_sc_hvl__decap_, (6.24,8.14)))
c_sky130_fd_sc_hvl__lsbufh.add(gdstk.Reference(sky130_fd_sc_hvl__decap_, (2.4,8.14), x_reflection=True))
c_sky130_fd_sc_hvl__lsbufh.add(gdstk.Reference(sky130_fd_sc_hvl__decap_, (2.4,8.14)))
c_sky130_fd_sc_hvl__lsbufh.add(gdstk.Reference(sky130_fd_sc_hvl__decap_, (10.08,8.14), x_reflection=True))
c_sky130_fd_sc_hvl__lsbufh.add(gdstk.Reference(sky130_fd_sc_hvl__fill_1, (8.16,8.14)))
c_sky130_fd_sc_hvl__lsbufh.add(gdstk.Reference(c_sky130_fd_sc_hvl__decap_, (13.92,8.14), x_reflection=True))
c_sky130_fd_sc_hvl__lsbufh.add(gdstk.Reference(sky130_fd_sc_hvl__diode_, (7.68,16.28), x_reflection=True))
c_sky130_fd_sc_hvl__lsbufh.add(gdstk.Reference(sky130_fd_sc_hvl__fill_2, (15.84,8.14), x_reflection=True))
c_sky130_fd_sc_hvl__lsbufh.add(gdstk.Reference(sky130_fd_sc_hvl__fill_1, (16.8,8.14), x_reflection=True))
c_sky130_fd_sc_hvl__lsbufh.add(gdstk.Reference(sky130_fd_sc_hvl__decap_, (6.24,8.14), x_reflection=True))
c_sky130_fd_sc_hvl__lsbufh.add(gdstk.Reference(sky130_fd_sc_hvl__fill_1, (16.8,8.14)))
c_sky130_fd_sc_hvl__lsbufh.add(gdstk.Label('X', (3.12,1), layer=69, texttype=5))
c_sky130_fd_sc_hvl__lsbufh.add(gdstk.Label('A', (16.56,16), layer=69, texttype=5))
c_sky130_fd_sc_hvl__lsbufh.add(gdstk.Label('LVGND', (15.3,10.175), layer=71, texttype=5))
c_sky130_fd_sc_hvl__lsbufh.add(gdstk.Label('VGND', (10.9,10.175), layer=71, texttype=5))
c_sky130_fd_sc_hvl__lsbufh.add(gdstk.Label('LVPWR', (8.8,10.175), layer=71, texttype=5))
c_sky130_fd_sc_hvl__lsbufh.add(gdstk.Label('VPWR', (4.4,10.175), layer=71, texttype=5))

lib.write_gds('sky130_fd_sc_hvl__lsbufhv2lv_1_wrapped.gds')
